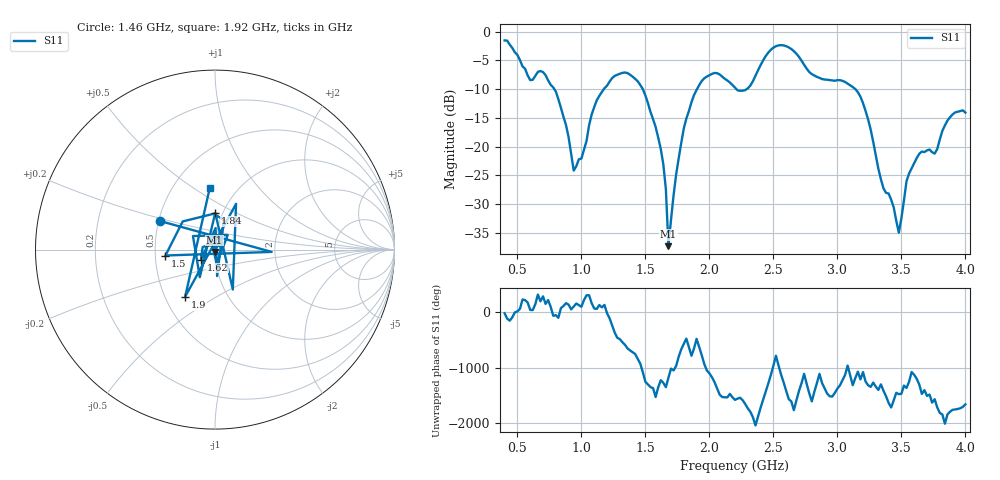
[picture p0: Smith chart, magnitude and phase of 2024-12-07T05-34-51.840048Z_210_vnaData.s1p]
!Created with skrf (http://scikit-rf.org).
# Hz S RI R 50.0
!freq ReS11 ImS11
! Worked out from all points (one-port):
!   181 points, 400 MHz to 4 GHz, reference 50 ohm
!   lowest |S11| = -37.3 dB at 1.68 GHz (marker M1), VSWR 1.03, Z = 49.8 - j1.34 ohm
!   |S11| at or under -10 dB: 788 MHz to 1.176 GHz (387.6 MHz wide, 39.5 % of centre); 1.48 GHz to 1.903 GHz (423.6 MHz wide, 25 % of centre); 3.14 GHz to end of sweep (the widest 3 of 4)
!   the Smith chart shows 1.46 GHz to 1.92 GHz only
!   S11 on the Smith chart (normalised r, x): 1.46 GHz: 0.51, +0.18; 1.5 GHz: 0.57, -0.04; 1.62 GHz: 0.85, -0.10; 1.84 GHz: 0.92, +0.39; 1.9 GHz: 0.63, -0.37; 1.92 GHz: 0.75, +0.58
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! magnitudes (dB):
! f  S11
! 400 MHz  -1.6
! 600 MHz  -8.4
! 720 MHz  -7.6
! 860 MHz  -14.8
! 940 MHz  -24.2
! 1.12 GHz  -11.9
! 1.3 GHz  -7.3
! 1.46 GHz  -9.3
! 1.5 GHz  -11.1
! 1.62 GHz  -20.4
! 1.66 GHz  -27.4
! 1.68 GHz  -37.3
! 1.76 GHz  -22.0
! 1.84 GHz  -13.8
! 1.9 GHz  -10.1
! 1.92 GHz  -9.3
! 2.06 GHz  -7.2
! 2.2 GHz  -9.8
! 2.3 GHz  -9.9
! 2.5 GHz  -2.8
! 2.66 GHz  -3.4
! 2.8 GHz  -7.4
! 3.1 GHz  -9.4
! 3.2 GHz  -12.4
! 3.48 GHz  -34.9
! 3.56 GHz  -24.7
! 3.9 GHz  -14.4
! 4 GHz  -14.1
